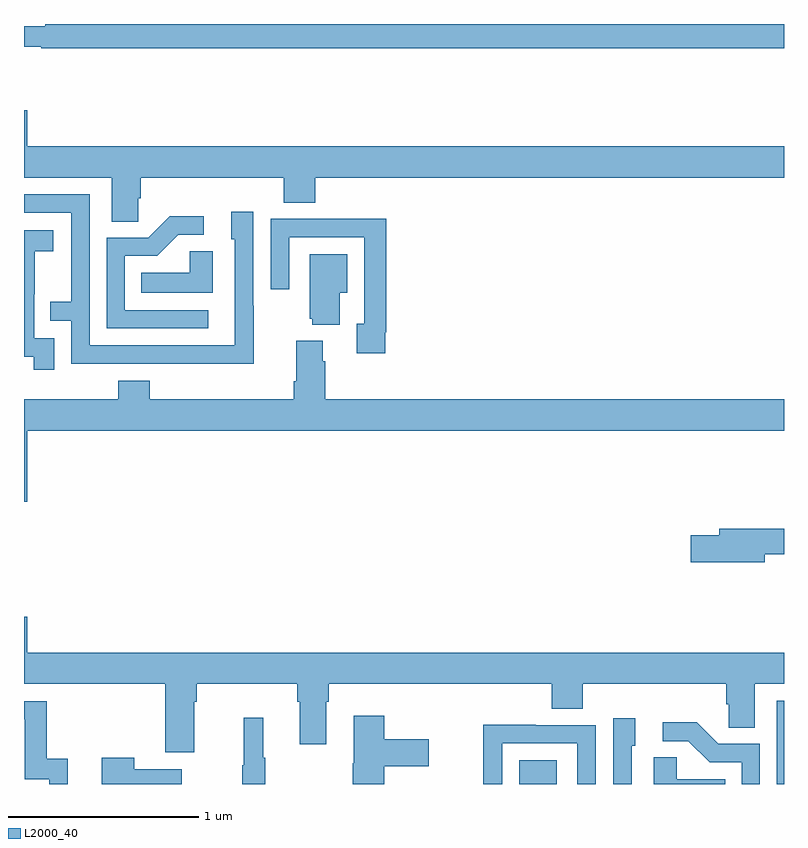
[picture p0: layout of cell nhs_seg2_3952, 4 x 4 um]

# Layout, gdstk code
import gdstk
lib = gdstk.Library(unit=1e-6, precision=1e-09)
def R(c, l, rs):  # rectangles x0, y0, x1, y1
    for r in rs: c.add(gdstk.rectangle(r[:2], r[2:], *l))
def P(c, l, *ps):  # polygons
    for p in ps: c.add(gdstk.Polygon(p, *l))
L2000_40 = (2000, 40)

nhs_seg2_3952 = lib.new_cell('nhs_seg2_3952')
R(nhs_seg2_3952, L2000_40, [(323.606,621.8,323.803,621.925), (324.963,621.8,325,622.239)])
P(nhs_seg2_3952, L2000_40, [(325,625.8),(321.112,625.8),(321.112,625.789),(321,625.789),(321,625.68),(321.092,625.68),(321.092,625.672),(325,625.672)],
  [(321.6,624.883),(321.614,624.883),(321.614,624.992),(322.367,624.992),(322.367,624.859),(322.532,624.859),(322.532,624.992),(325,624.992),(325,625.156),(321.016,625.156),(321.016,625.345),(321,625.345),(321,624.992),(321.461,624.992),(321.461,624.76),(321.6,624.76)],
  [(322.209,624.317),(322.206,624.317),(322.206,624.811),(322.091,624.811),(322.091,624.666),(322.11,624.666),(322.11,624.108),(321.345,624.108),(321.345,624.903),(321,624.903),(321,624.807),(321.249,624.807),(321.249,624.338),(321.139,624.338),(321.139,624.237),(321.249,624.237),(321.249,624.012),(321.745,624.012),(321.745,624.011),(322.209,624.011)],
  [(321.97,624.294),(321.531,624.294),(321.531,624.579),(321.7,624.579),(321.811,624.69),(321.946,624.69),(321.946,624.788),(321.767,624.788),(321.654,624.675),(321.435,624.675),(321.435,624.198),(321.97,624.198)],
  [(322.9,624.178),(322.907,624.178),(322.907,624.776),(322.615,624.776),(322.615,624.774),(322.299,624.774),(322.299,624.405),(322.395,624.405),(322.395,624.678),(322.791,624.678),(322.791,624.222),(322.751,624.222),(322.751,624.066),(322.9,624.066)],
  [(321.159,624.147),(321.054,624.147),(321.054,624.377),(321.056,624.377),(321.056,624.605),(321.154,624.605),(321.154,624.715),(321,624.715),(321,624.049),(321.051,624.049),(321.051,623.979),(321.159,623.979)],
  [(321.994,624.605),(321.873,624.605),(321.873,624.49),(321.616,624.49),(321.616,624.386),(321.994,624.386)],
  [(322.663,624.386),(322.702,624.386),(322.702,624.589),(322.505,624.589),(322.505,624.249),(322.517,624.249),(322.517,624.218),(322.663,624.218)],
  [(321.016,623.66),(325,623.66),(325,623.824),(322.586,623.824),(322.586,624.026),(322.573,624.026),(322.573,624.133),(322.433,624.133),(322.433,623.92),(322.421,623.92),(322.421,623.824),(321.662,623.824),(321.662,623.923),(321.497,623.923),(321.497,623.824),(321,623.824),(321,623.286),(321.016,623.286)],
  [(324.898,623.008),(325,623.008),(325,623.144),(324.659,623.144),(324.659,623.108),(324.51,623.108),(324.51,622.966),(324.898,622.966)],
  [(321.895,622.232),(321.908,622.232),(321.908,622.328),(322.439,622.328),(322.439,622.232),(322.451,622.232),(322.451,622.008),(322.591,622.008),(322.591,622.232),(322.604,622.232),(322.604,622.328),(323.777,622.328),(323.777,622.195),(323.942,622.195),(323.942,622.328),(324.695,622.328),(324.695,622.219),(324.708,622.219),(324.708,622.096),(324.847,622.096),(324.847,622.328),(325,622.328),(325,622.492),(321.016,622.492),(321.016,622.681),(321,622.681),(321,622.328),(321.743,622.328),(321.743,621.966),(321.895,621.966)],
  [(321.23,621.934),(321.119,621.934),(321.119,622.236),(321,622.236),(321,622.14),(321.003,622.14),(321.003,621.825),(321.132,621.825),(321.132,621.8),(321.23,621.8)],
  [(322.895,621.893),(323.131,621.893),(323.131,622.035),(322.895,622.035),(322.895,622.159),(322.736,622.159),(322.736,621.909),(322.729,621.909),(322.729,621.8),(322.895,621.8)],
  [(322.27,621.937),(322.259,621.937),(322.259,622.15),(322.156,622.15),(322.156,621.9),(322.149,621.9),(322.149,621.8),(322.27,621.8)],
  [(324.198,622.002),(324.217,622.002),(324.217,622.147),(324.102,622.147),(324.102,621.8),(324.198,621.8)],
  [(324.873,622.011),(324.654,622.011),(324.541,622.124),(324.363,622.124),(324.363,622.026),(324.497,622.026),(324.608,621.915),(324.777,621.915),(324.777,621.8),(324.873,621.8)],
  [(323.517,622.014),(323.913,622.014),(323.913,621.8),(324.009,621.8),(324.009,622.11),(323.693,622.11),(323.693,622.112),(323.416,622.112),(323.416,621.8),(323.517,621.8)],
  [(324.692,621.826),(324.435,621.826),(324.435,621.941),(324.314,621.941),(324.314,621.8),(324.692,621.8)],
  [(321.829,621.877),(321.581,621.877),(321.581,621.937),(321.41,621.937),(321.41,621.8),(321.829,621.8)])

lib.write_gds('nhs_seg2_3952.gds')
